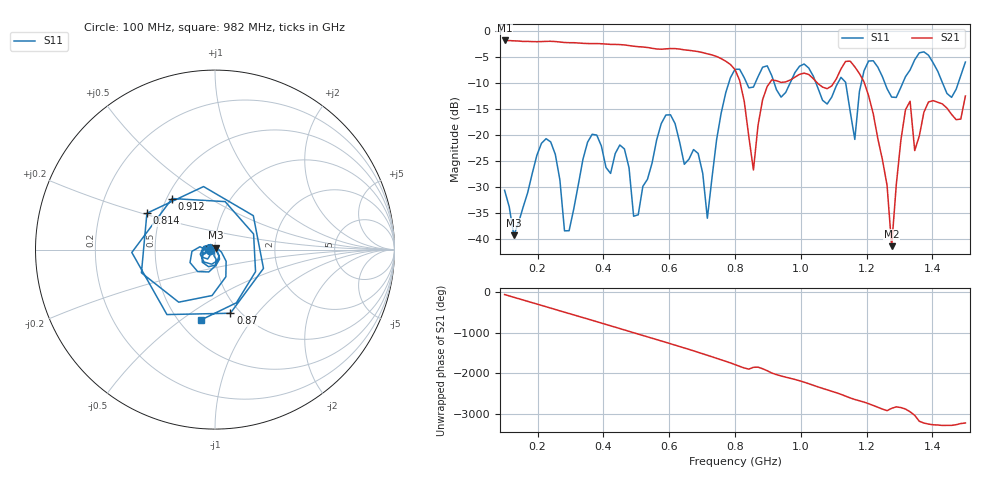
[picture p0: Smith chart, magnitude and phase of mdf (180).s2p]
! NanoVNA-App
! Date: 2025-09-26 09:41:08
! Start: 100MHz Stop: 1,5GHz Points: 101
! S-Parameter data: F S11 S21 S12 S22
# Hz S RI R 50
!  Frequency  S11_Real  S11_Imag  S21_Real  S21_Imag  S12_Real  S12_Imag  S22_Real  S22_Imag
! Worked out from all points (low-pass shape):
!   101 points, 100 MHz to 1.5 GHz, reference 50 ohm
!   highest |S21| = -1.79 dB at 100 MHz (marker M1); lowest = -41.4 dB at 1.276 GHz (marker M2)
!   |S21| within 3 dB of the highest: start of sweep to 740.5 MHz
!   lowest |S11| = -39.3 dB at 128 MHz (marker M3), VSWR 1.02, Z = 50.3 + j1.06 ohm
!   |S11| at or under -10 dB: start of sweep to 780.9 MHz; 1.046 GHz to 1.112 GHz (66.08 MHz wide, 6.12 % of centre); 1.255 GHz to 1.309 GHz (54.03 MHz wide, 4.21 % of centre)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
!   S12 and S22 are empty: the file has one direction only
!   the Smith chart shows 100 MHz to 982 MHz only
!   S11 on the Smith chart (normalised r, x): 100 MHz: 0.94, -0.01; 814 MHz: 0.42, +0.21; 870 MHz: 0.90, -0.74; 912 MHz: 0.53, +0.35; 982 MHz: 0.64, -0.60
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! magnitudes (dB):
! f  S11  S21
! 100 MHz  -30.6  -1.8
! 128 MHz  -39.3  -1.9
! 212 MHz  -21.6  -2.0
! 282 MHz  -38.4  -2.2
! 338 MHz  -24.7  -2.3
! 464 MHz  -22.7  -2.6
! 506 MHz  -35.3  -3.0
! 576 MHz  -17.8  -3.5
! 688 MHz  -23.5  -3.9
! 716 MHz  -36.0  -4.4
! 800 MHz  -7.3  -7.4
! 814 MHz  -7.3  -9.5
! 856 MHz  -10.8  -26.7
! 870 MHz  -8.8  -18.1
! 912 MHz  -8.6  -9.4
! 982 MHz  -8.0  -8.9
! 1.038 GHz  -8.7  -9.1
! 1.164 GHz  -20.8  -6.9
! 1.192 GHz  -7.6  -9.8
! 1.276 GHz  -12.7  -41.4
! 1.318 GHz  -8.8  -15.1
! 1.5 GHz  -5.9  -12.5
